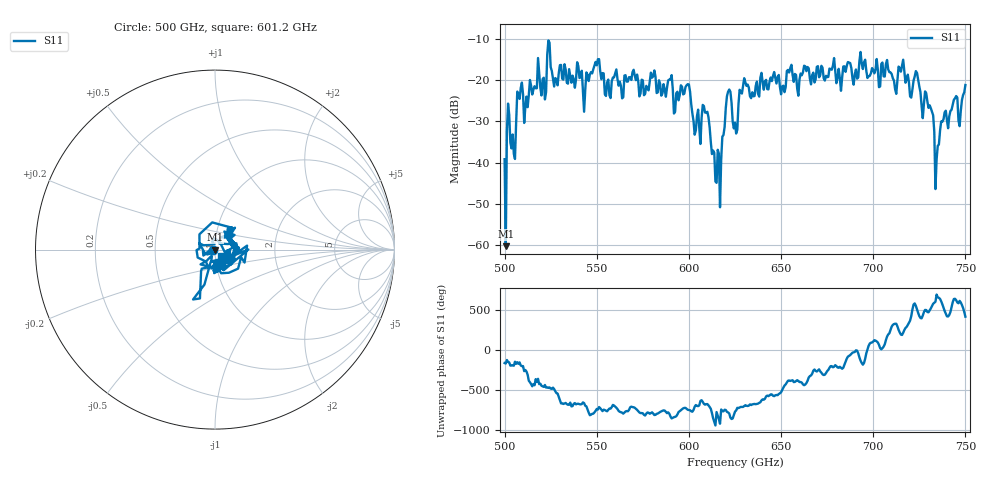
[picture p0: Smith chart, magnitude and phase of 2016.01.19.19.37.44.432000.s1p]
!Created with skrf (http://scikit-rf.org).
# GHz S RI R 50.0
!freq ReS11 ImS11
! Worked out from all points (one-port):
!   401 points, 500 GHz to 750 GHz, reference 50 ohm
!   lowest |S11| = -60.3 dB at 500.6 GHz (marker M1), VSWR 1.00, Z = 49.9 - j0.018 ohm
!   |S11| at or under -10 dB: start of sweep to end of sweep
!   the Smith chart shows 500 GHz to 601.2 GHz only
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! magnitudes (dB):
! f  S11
! 500 GHz  -39.2
! 500.6 GHz  -60.3
! 502.5 GHz  -28.4
! 505 GHz  -37.9
! 508.1 GHz  -24.5
! 521.2 GHz  -19.4
! 524.4 GHz  -10.9
! 527.5 GHz  -19.5
! 531.2 GHz  -19.6
! 543.8 GHz  -22.4
! 550 GHz  -16.4
! 562.5 GHz  -20.3
! 580.6 GHz  -19.0
! 593.8 GHz  -22.8
! 599.4 GHz  -21.0
! 605 GHz  -27.1
! 608.8 GHz  -27.9
! 615.6 GHz  -36.9
! 621.2 GHz  -22.8
! 625 GHz  -30.3
! 630.6 GHz  -20.5
! 656.2 GHz  -18.7
! 687.5 GHz  -15.8
! 718.8 GHz  -18.7
! 729.4 GHz  -25.2
! 734.4 GHz  -39.2
! 738.1 GHz  -29.5
! 750 GHz  -21.2
